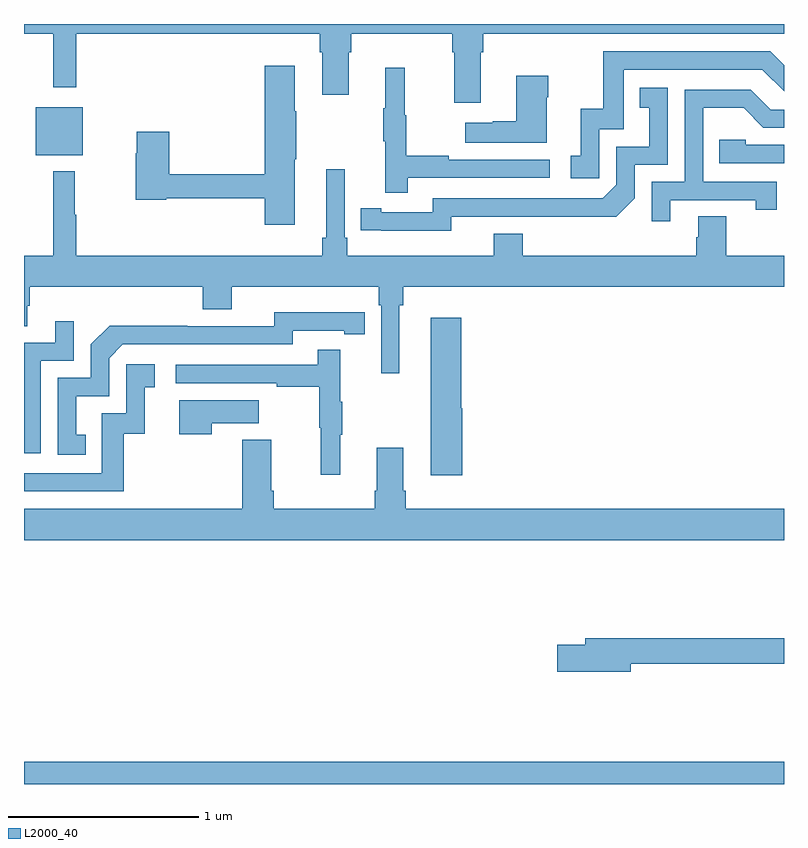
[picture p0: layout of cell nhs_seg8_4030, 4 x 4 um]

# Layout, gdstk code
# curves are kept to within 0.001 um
import gdstk
lib = gdstk.Library(unit=1e-6, precision=1e-09)
def R(c, l, rs):  # rectangles x0, y0, x1, y1
    for r in rs: c.add(gdstk.rectangle(r[:2], r[2:], *l))
def P(c, l, *ps):  # polygons
    for p in ps: c.add(gdstk.Polygon(p, *l))
L2000_40 = (2000, 40)

nhs_seg8_4030 = lib.new_cell('nhs_seg8_4030')
R(nhs_seg8_4030, L2000_40, [(359,1097.9,363,1098.016), (359.063,1101.209,359.308,1101.463)])
P(nhs_seg8_4030, L2000_40, [(361.405,1101.752),(361.418,1101.752),(361.418,1101.848),(363,1101.848),(363,1101.9),(359,1101.9),(359,1101.848),(359.153,1101.848),(359.153,1101.567),(359.275,1101.567),(359.275,1101.848),(360.557,1101.848),(360.557,1101.752),(360.569,1101.752),(360.569,1101.528),(360.709,1101.528),(360.709,1101.752),(360.722,1101.752),(360.722,1101.848),(361.253,1101.848),(361.253,1101.752),(361.265,1101.752),(361.265,1101.486),(361.405,1101.486)],
  [(362.028,1101.345),(362.157,1101.345),(362.157,1101.66),(362.886,1101.66),(363,1101.546),(363,1101.684),(362.928,1101.756),(362.049,1101.756),(362.049,1101.454),(361.931,1101.454),(361.931,1101.207),(361.878,1101.207),(361.878,1101.087),(362.028,1101.087)],
  [(360.424,1101.187),(360.432,1101.187),(360.432,1101.44),(360.424,1101.44),(360.424,1101.679),(360.266,1101.679),(360.266,1101.11),(359.765,1101.11),(359.765,1101.334),(359.594,1101.334),(359.594,1101.221),(359.587,1101.221),(359.587,1100.974),(359.748,1100.974),(359.748,1100.982),(360.266,1100.982),(360.266,1100.844),(360.424,1100.844)],
  [(361.019,1101.09),(361.768,1101.09),(361.768,1101.186),(361.235,1101.186),(361.235,1101.206),(361.012,1101.206),(361.012,1101.42),(361.004,1101.42),(361.004,1101.67),(360.902,1101.67),(360.902,1101.457),(360.891,1101.457),(360.891,1101.283),(360.902,1101.283),(360.902,1101.012),(361.019,1101.012)],
  [(361.75,1101.515),(361.758,1101.515),(361.758,1101.628),(361.592,1101.628),(361.592,1101.389),(361.466,1101.389),(361.466,1101.379),(361.323,1101.379),(361.323,1101.275),(361.75,1101.275)],
  [(361.248,1100.886),(362.116,1100.885),(362.214,1100.982),(362.214,1101.159),(362.388,1101.159),(362.388,1101.565),(362.242,1101.565),(362.242,1101.459),(362.291,1101.459),(362.291,1101.255),(362.118,1101.255),(362.118,1101.054),(362.046,1100.982),(361.152,1100.982),(361.152,1100.91),(360.88,1100.91),(360.88,1100.93),(360.772,1100.93),(360.772,1100.814),(361.248,1100.813)],
  [(362.401,1100.973),(362.852,1100.973),(362.852,1100.922),(362.963,1100.922),(362.963,1101.069),(362.574,1101.069),(362.574,1101.458),(362.788,1101.458),(362.892,1101.354),(363,1101.354),(363,1101.45),(362.929,1101.45),(362.824,1101.555),(362.478,1101.555),(362.478,1101.069),(362.304,1101.069),(362.304,1100.862),(362.401,1100.862)],
  [(363,1101.264),(362.799,1101.264),(362.799,1101.291),(362.659,1101.291),(362.659,1101.168),(363,1101.168)],
  [(360.59,1101.136),(360.59,1100.776),(360.571,1100.776),(360.571,1100.68),(359.275,1100.68),(359.275,1100.897),(359.267,1100.897),(359.267,1101.124),(359.153,1101.124),(359.153,1100.68),(359,1100.68),(359,1100.308),(359.017,1100.308),(359.017,1100.418),(359.03,1100.418),(359.03,1100.516),(359.942,1100.516),(359.942,1100.399),(360.094,1100.399),(360.094,1100.516),(360.866,1100.516),(360.866,1100.42),(360.879,1100.42),(360.879,1100.061),(360.976,1100.061),(360.976,1100.42),(360.995,1100.42),(360.995,1100.516),(363,1100.516),(363,1100.68),(362.697,1100.68),(362.697,1100.888),(362.549,1100.888),(362.549,1100.778),(362.537,1100.778),(362.537,1100.68),(361.625,1100.68),(361.625,1100.797),(361.472,1100.797),(361.472,1100.68),(360.701,1100.68),(360.701,1100.776),(360.687,1100.776),(360.687,1101.136)],
  [(359.324,1099.737),(359.275,1099.737),(359.275,1099.941),(359.448,1099.941),(359.448,1100.142),(359.52,1100.214),(360.414,1100.214),(360.414,1100.286),(360.686,1100.286),(360.686,1100.266),(360.794,1100.266),(360.794,1100.382),(360.318,1100.383),(360.318,1100.31),(359.858,1100.31),(359.858,1100.312),(359.45,1100.312),(359.352,1100.214),(359.352,1100.037),(359.178,1100.037),(359.178,1099.632),(359.324,1099.632)],
  [(361.306,1099.878),(361.301,1099.878),(361.301,1100.353),(361.142,1100.353),(361.142,1099.526),(361.306,1099.526)],
  [(359.088,1100.127),(359.262,1100.127),(359.262,1100.335),(359.165,1100.335),(359.165,1100.223),(359,1100.223),(359,1099.641),(359.088,1099.641)],
  [(360.665,1099.739),(360.676,1099.739),(360.676,1099.913),(360.665,1099.913),(360.665,1100.185),(360.547,1100.185),(360.547,1100.106),(359.799,1100.106),(359.799,1100.01),(360.331,1100.01),(360.331,1099.99),(360.555,1099.99),(360.555,1099.776),(360.562,1099.776),(360.562,1099.527),(360.665,1099.527)],
  [(359.525,1099.743),(359.636,1099.743),(359.636,1099.989),(359.689,1099.989),(359.689,1100.11),(359.538,1100.11),(359.538,1099.851),(359.409,1099.851),(359.409,1099.536),(359,1099.536),(359,1099.44),(359.525,1099.44)],
  [(359.987,1099.799),(360.235,1099.799),(360.235,1099.921),(359.816,1099.921),(359.816,1099.74),(359.987,1099.74)],
  [(363,1099.348),(361.01,1099.348),(361.01,1099.444),(360.997,1099.444),(360.997,1099.669),(360.857,1099.669),(360.857,1099.444),(360.845,1099.444),(360.845,1099.348),(360.314,1099.348),(360.314,1099.444),(360.301,1099.444),(360.301,1099.711),(360.149,1099.711),(360.149,1099.348),(359,1099.348),(359,1099.184),(363,1099.184)],
  [(362.194,1098.532),(363,1098.532),(363,1098.668),(361.955,1098.668),(361.955,1098.632),(361.806,1098.632),(361.806,1098.49),(362.194,1098.49)])

lib.write_gds('nhs_seg8_4030.gds')
